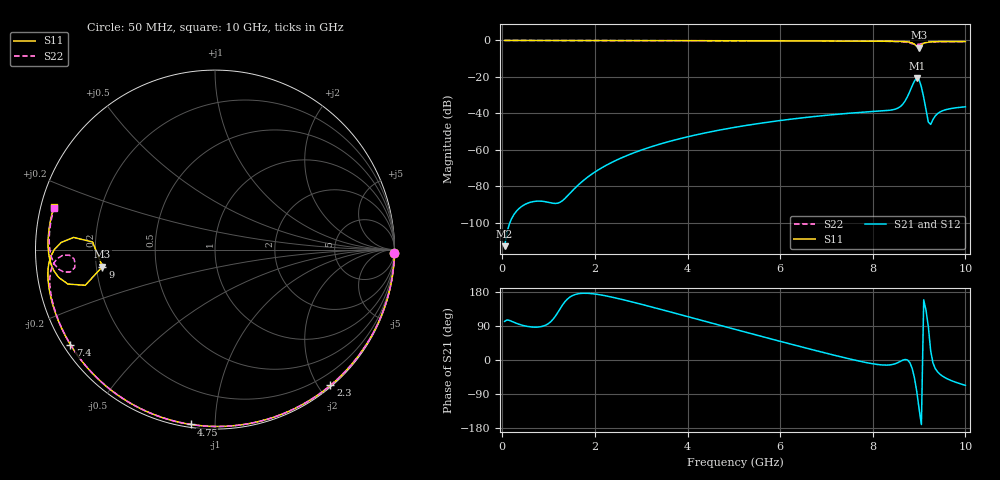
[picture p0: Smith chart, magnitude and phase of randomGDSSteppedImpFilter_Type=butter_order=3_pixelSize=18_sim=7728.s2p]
! freq	dB(S11)	phase(S11)	dB(S12)	phase(S12)
!  dB(S21)	phase(S21)	dB(S22)	phase(S22)
!S-par simulation data
#  GHz  S  DB  R 50
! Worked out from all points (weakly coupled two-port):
!   200 points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, 50 MHz to 10 GHz, reference 50 ohm
!   highest |S21| = -20.65 dB at 8.95 GHz (marker M1); lowest = -112.7 dB at 50 MHz (marker M2)
!   lowest |S11| = -4.0 dB at 9 GHz (marker M3), VSWR 4.47, Z = 11.2 - j3.57 ohm
!   |S11| at or under -10 dB: nowhere
!   |S22| runs from -2.1 to 0.0 dB; largest |S21 - S12| = 0
!   S11 on the Smith chart (normalised r, x): 50 MHz: open; 2.3 GHz: 0.02, -2.16; 4.75 GHz: 0.01, -0.87; 7.4 GHz: 0.02, -0.30; 9 GHz: 0.22, -0.07; 10 GHz: 0.04, +0.13
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0.05  -0.00 -1.1  -112.74 101.8  -112.74 101.8  -0.00 -1.1
1.6  -0.04 -34.9  -80.17 173.7  -80.17 173.7  -0.04 -34.9
1.75  -0.05 -38.1  -76.76 176.1  -76.76 176.1  -0.05 -38.1
2.3  -0.06 -49.6  -67.66 167.7  -67.66 167.7  -0.06 -49.6
3.4  -0.09 -71.9  -56.83 134.3  -56.83 134.3  -0.09 -72.0
4.75  -0.14 -97.9  -48.83 89.9  -48.83 89.9  -0.14 -97.9
5.05  -0.16 -103.5  -47.48 80.1  -47.48 80.1  -0.16 -103.5
6.7  -0.26 -133.7  -41.78 27.0  -41.78 27.0  -0.26 -133.7
7.4  -0.32 -146.6  -40.08 5.7  -40.08 5.7  -0.32 -146.6
8.35  -0.44 -165.8  -38.28 -13.2  -38.28 -13.2  -0.49 -165.9
8.55  -0.51 -170.8  -36.97 -6.5  -36.97 -6.5  -0.62 -170.9
8.65  -0.59 -173.9  -34.88 -0.3  -34.88 -0.3  -0.78 -173.8
8.75  -0.77 -177.7  -30.75 0.0  -30.75 0.0  -1.12 -176.8
8.85  -1.33 177.3  -24.91 -21.9  -24.91 -21.9  -1.80 -177.8
8.95  -3.31 176.4  -20.65 -83.2  -20.65 -83.2  -2.12 -174.5
9  -3.95 -171.4  -21.47 -128.5  -21.47 -128.5  -2.08 -172.8
9.05  -2.50 -164.6  -25.50 -170.5  -25.50 -170.5  -1.77 -171.2
9.2  -0.86 -172.5  -44.69 87.8  -44.69 87.8  -0.96 -174.5
9.25  -0.76 -174.7  -46.03 24.6  -46.03 24.6  -0.86 -176.0
9.35  -0.67 -178.2  -41.34 -22.7  -41.34 -22.7  -0.75 -178.9
9.45  -0.63 178.9  -39.22 -37.5  -39.22 -37.5  -0.70 178.5
10  -0.64 165.3  -36.37 -66.9  -36.37 -66.9  -0.67 165.3
